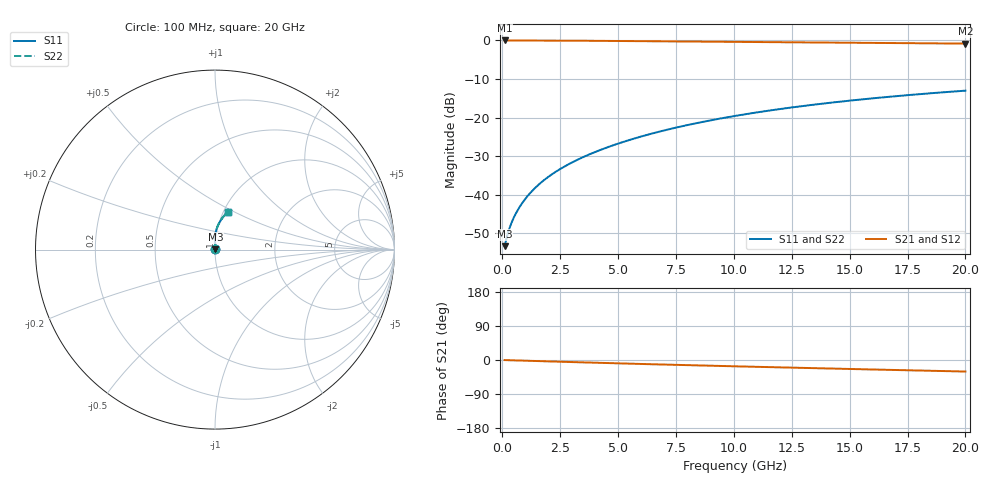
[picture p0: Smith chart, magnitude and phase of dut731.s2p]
! Touchstone file exported from HFSS 2024.1.0
!  File:  C:/UserFiles/LocalFiles/RDL_TSV_Batchsim/temp_RDL_bottom_731_1779858928.aedt
!  Generated:  01:17:55 PM May 27, 2026
!  Design:  RDL_bottom
!  Project:  temp_RDL_bottom_731_1779858928
!  Setup:  Setup1
!  Solution:  Sweep
! Variables:
!  dtsv = 10.80580581um
!  hbump = 3um
!  htsv = 99.6um
!  ldown = 477.96um
!  lrdl = 100um
!  p = 40
!  p1 = 42.51um
!  rhole = 1um
!  t = 450um
!  tdown = 3.99um
!  trdl = 3.915915916um
!  wdown = 25.8um
!  wrdl = 20um
# GHz S MA R 50.000000
! Terminal data exported
! Port[1] = RDL1_T1
! Port[2] = RDL1_T2
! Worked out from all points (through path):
!   200 points, 100 MHz to 20 GHz, reference 50 ohm
!   highest |S21| = -0.02 dB at 100 MHz (marker M1); lowest = -0.8 dB at 20 GHz (marker M2)
!   group delay of S21, straight-line fit = 4.17 ps
!   lowest |S11| = -53.3 dB at 100 MHz (marker M3), VSWR 1.00, Z = 50.2 + j0.106 ohm
!   |S11| at or under -10 dB: start of sweep to end of sweep
!   |S22| runs from -53.3 to -13.0 dB; largest |S21 - S12| = 3.5e-15
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0.1  0.002153 29.3  0.9981 -0.2  0.9981 -0.2  0.002153 29.3
! Gamma 0 0 0 0
! Port Impedance 50 0 50 0
0.2  0.002855 44.9  0.9979 -0.4  0.9979 -0.4  0.002855 44.9
0.3  0.003604 53.2  0.9978 -0.6  0.9978 -0.6  0.003604 53.2
0.4  0.004342 58.7  0.9976 -0.8  0.9976 -0.8  0.004342 58.7
0.5  0.005075 62.8  0.9975 -0.9  0.9975 -0.9  0.005075 62.8
0.6  0.005814 66.1  0.9973 -1.1  0.9973 -1.1  0.005813 66.2
0.8  0.007324 71.2  0.9971 -1.5  0.9971 -1.5  0.007324 71.2
1  0.00888 74.8  0.9968 -1.8  0.9968 -1.8  0.008879 74.8
1.2  0.01047 77.6  0.9965 -2.2  0.9965 -2.2  0.01047 77.6
1.7  0.0146 82.1  0.9954 -3.1  0.9954 -3.1  0.0146 82.1
2.2  0.01888 84.9  0.9941 -4.0  0.9941 -4.0  0.01889 84.9
2.8  0.02425 87.2  0.9922 -5.1  0.9922 -5.1  0.02425 87.2
3.5  0.0308 88.8  0.9895 -6.3  0.9895 -6.3  0.03081 88.9
4.2  0.03769 89.8  0.9865 -7.5  0.9865 -7.5  0.03769 89.9
5  0.04595 90.4  0.9827 -8.9  0.9827 -8.9  0.04596 90.4
6.8  0.0659 90.2  0.9734 -11.8  0.9734 -11.8  0.06592 90.2
8.4  0.0848 88.8  0.9649 -14.2  0.9649 -14.2  0.08483 88.8
10.1  0.1056 86.7  0.956 -16.7  0.956 -16.7  0.1056 86.7
11.7  0.1253 84.3  0.9479 -19.1  0.9479 -19.1  0.1254 84.3
13.4  0.1462 81.6  0.9396 -21.5  0.9396 -21.5  0.1463 81.6
16.7  0.1858 76.2  0.9241 -26.0  0.9241 -26.0  0.1859 76.2
20  0.2232 70.9  0.9092 -30.4  0.9092 -30.4  0.2233 70.9
